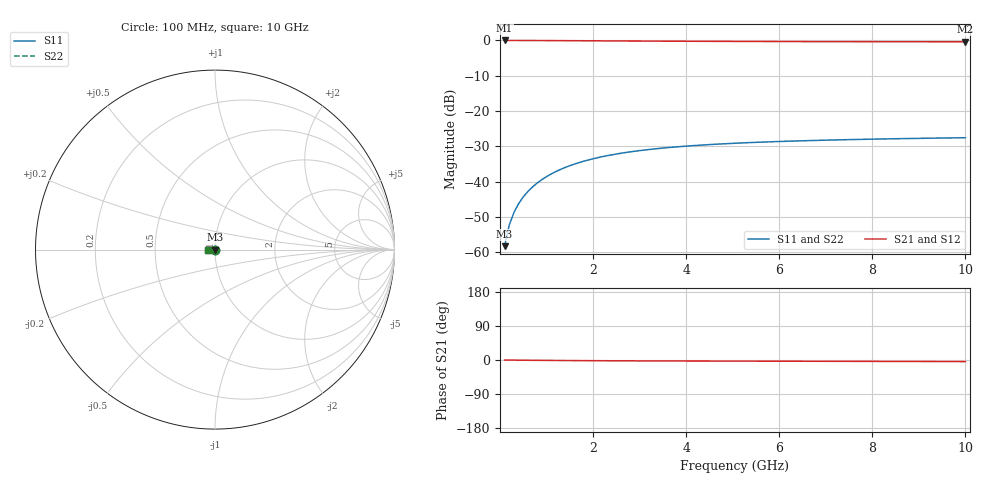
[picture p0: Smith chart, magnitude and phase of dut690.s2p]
! Touchstone file exported from HFSS 2024.1.0
!  File:  C:/UserFiles/LocalFiles/RDL_TSV_Batchsim/temp_TSV1_690_1779796052.aedt
!  Generated:  07:53:40 PM May 26, 2026
!  Design:  TSV1
!  Project:  temp_TSV1_690_1779796052
!  Setup:  Setup1
!  Solution:  Sweep
! Variables:
!  dtsv = 13.04um
!  hbump = 3um
!  htsv = 62.13um
!  lrdl = 252.1521522um
!  p = 40
!  p1 = 53.06um
!  t = 500um
!  trdl = 3um
!  wrdl = 24.89489489um
# GHz S MA R 50.000000
! Terminal data exported
! Port[1] = TSV22_T1
! Port[2] = TSV22_T2
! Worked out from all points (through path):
!   100 points, 100 MHz to 10 GHz, reference 50 ohm
!   highest |S21| = 0.00 dB at 100 MHz (marker M1); lowest = -0.4 dB at 10 GHz (marker M2)
!   lowest |S11| = -58.2 dB at 100 MHz (marker M3), VSWR 1.00, Z = 50 - j0.122 ohm
!   |S11| at or under -10 dB: start of sweep to end of sweep
!   |S22| runs from -58.2 to -27.5 dB; largest |S21 - S12| = 3.3e-15
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0.1  0.001224 -88.3  0.9999 -0.1  0.9999 -0.1  0.001224 -88.3
! Gamma 0 0 0 0
! Port Impedance 50 0 50 0
0.2  0.002445 -91.7  0.9997 -0.2  0.9997 -0.2  0.002445 -91.7
0.3  0.003665 -94.0  0.9995 -0.3  0.9995 -0.3  0.003665 -94.0
0.4  0.004878 -96.1  0.9992 -0.4  0.9992 -0.4  0.004878 -96.1
0.5  0.006081 -98.1  0.9989 -0.5  0.9989 -0.5  0.006081 -98.1
0.6  0.007268 -100.0  0.9985 -0.6  0.9985 -0.6  0.007268 -100.0
0.7  0.008436 -101.9  0.998 -0.8  0.998 -0.8  0.008436 -101.9
0.8  0.009583 -103.7  0.9974 -0.8  0.9974 -0.8  0.009583 -103.7
0.9  0.01071 -105.5  0.9969 -0.9  0.9969 -0.9  0.01071 -105.5
1.1  0.01287 -109.0  0.9955 -1.1  0.9955 -1.1  0.01287 -109.0
1.4  0.0159 -113.9  0.9933 -1.4  0.9933 -1.4  0.0159 -113.9
1.6  0.01777 -117.0  0.9917 -1.5  0.9917 -1.5  0.01777 -117.0
1.8  0.01951 -120.0  0.99 -1.7  0.99 -1.7  0.01951 -120.0
2.1  0.02189 -124.1  0.9875 -1.9  0.9875 -1.9  0.02189 -124.1
2.5  0.02467 -129.2  0.9843 -2.1  0.9843 -2.1  0.02467 -129.2
2.9  0.02703 -133.7  0.9812 -2.3  0.9812 -2.3  0.02703 -133.7
3.4  0.02951 -138.7  0.9777 -2.5  0.9777 -2.5  0.02951 -138.7
4.2  0.0326 -145.4  0.973 -2.7  0.973 -2.7  0.0326 -145.4
5.1  0.03517 -151.7  0.9688 -3.0  0.9688 -3.0  0.03517 -151.7
6.7  0.03831 -160.5  0.9635 -3.4  0.9635 -3.4  0.03831 -160.5
8.4  0.0405 -167.7  0.9598 -3.8  0.9598 -3.8  0.0405 -167.7
10  0.04198 -173.3  0.9574 -4.2  0.9574 -4.2  0.04198 -173.3
